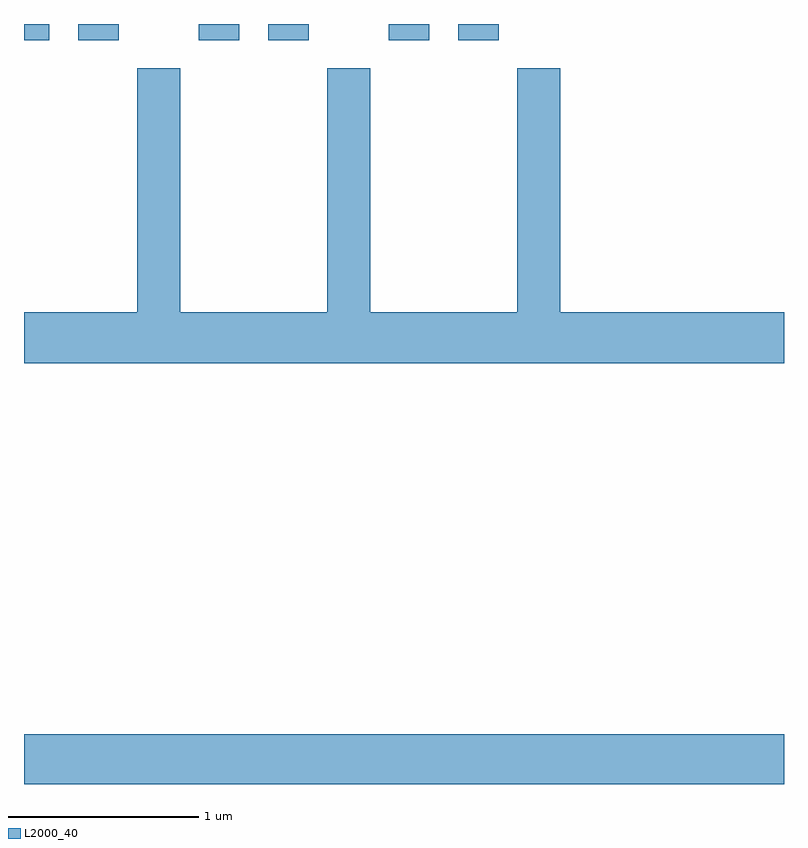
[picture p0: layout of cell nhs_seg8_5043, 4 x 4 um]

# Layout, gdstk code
import gdstk
lib = gdstk.Library(unit=1e-6, precision=1e-09)
def R(c, l, rs):  # rectangles x0, y0, x1, y1
    for r in rs: c.add(gdstk.rectangle(r[:2], r[2:], *l))
def P(c, l, *ps):  # polygons
    for p in ps: c.add(gdstk.Polygon(p, *l))
L2000_40 = (2000, 40)

nhs_seg8_5043 = lib.new_cell('nhs_seg8_5043')
R(nhs_seg8_5043, L2000_40, [(335.611,1916.342,339.611,1916.604), (335.611,1920.256,335.744,1920.342), (335.896,1920.256,336.109,1920.342), (336.531,1920.256,336.744,1920.342), (336.896,1920.256,337.109,1920.342), (337.531,1920.256,337.744,1920.342), (337.896,1920.256,338.109,1920.342)])
P(nhs_seg8_5043, L2000_40, [(339.611,1918.824),(338.434,1918.824),(338.434,1920.109),(338.206,1920.109),(338.206,1918.824),(337.434,1918.824),(337.434,1920.109),(337.206,1920.109),(337.206,1918.824),(336.434,1918.824),(336.434,1920.109),(336.206,1920.109),(336.206,1918.824),(335.611,1918.824),(335.611,1918.556),(339.611,1918.556)])

lib.write_gds('nhs_seg8_5043.gds')
